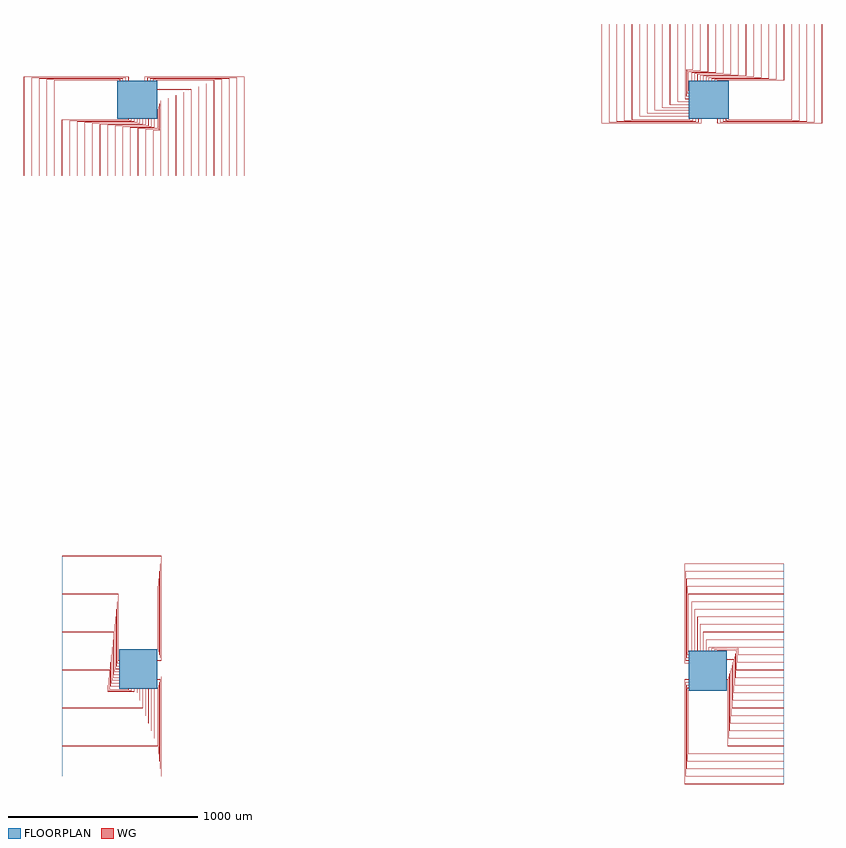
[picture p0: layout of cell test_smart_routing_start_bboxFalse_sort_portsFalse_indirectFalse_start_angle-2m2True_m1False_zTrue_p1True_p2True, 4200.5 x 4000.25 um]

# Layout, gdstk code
import gdstk
lib = gdstk.Library(unit=1e-6, precision=1e-09)
def R(c, l, rs):  # rectangles x0, y0, x1, y1
    for r in rs: c.add(gdstk.rectangle(r[:2], r[2:], *l))
def P(c, l, *ps):  # polygons
    for p in ps: c.add(gdstk.Polygon(p, *l))
WG = (1, 0)
FLOORPLAN = (10, 0)

test_smart_routing_start = lib.new_cell('test_smart_routing_start_bboxFalse_sort_portsFalse_indirectFalse_start_angle-2m2True_m1False_zTrue_p1True_p2True')
P(test_smart_routing_start, WG, [(3050.05,2877.8),(3050.05,2900),(3050.25,2900),(3050.25,2878),(3599.75,2878),(3599.75,3400),(3599.95,3400),(3599.95,2877.8)],
  [(3049.75,2877.5),(3049.75,2900),(3049.95,2900),(3049.95,2877.7),(3600.05,2877.7),(3600.05,3400),(3600.25,3400),(3600.25,2877.5)],
  [(3065.05,2882.3),(3065.05,2900),(3065.25,2900),(3065.25,2882.5),(3559.75,2882.5),(3559.75,3400),(3559.95,3400),(3559.95,2882.3)],
  [(3064.75,2882),(3064.75,2900),(3064.95,2900),(3064.95,2882.2),(3560.05,2882.2),(3560.05,3400),(3560.25,3400),(3560.25,2882)],
  [(3080.05,2886.8),(3080.05,2900),(3080.25,2900),(3080.25,2887),(3519.75,2887),(3519.75,3400),(3519.95,3400),(3519.95,2886.8)],
  [(3079.75,2886.5),(3079.75,2900),(3079.95,2900),(3079.95,2886.7),(3520.05,2886.7),(3520.05,3400),(3520.25,3400),(3520.25,2886.5)],
  [(3095.05,2891.3),(3095.05,2900),(3095.25,2900),(3095.25,2891.5),(3479.75,2891.5),(3479.75,3400),(3479.95,3400),(3479.95,2891.3)],
  [(3094.75,2891),(3094.75,2900),(3094.95,2900),(3094.95,2891.2),(3480.05,2891.2),(3480.05,3400),(3480.25,3400),(3480.25,2891)],
  [(3110.05,2895.8),(3110.05,2900),(3110.25,2900),(3110.25,2896),(3439.75,2896),(3439.75,3400),(3439.95,3400),(3439.95,2895.8)],
  [(3109.75,2895.5),(3109.75,2900),(3109.95,2900),(3109.95,2895.7),(3440.05,2895.7),(3440.05,3400),(3440.25,3400),(3440.25,2895.5)],
  [(3049.75,3100),(3049.75,3104.5),(3399.75,3104.5),(3399.75,3400),(3399.95,3400),(3399.95,3104.3),(3049.95,3104.3),(3049.95,3100)],
  [(3050.05,3100),(3050.05,3104.2),(3400.05,3104.2),(3400.05,3400),(3400.25,3400),(3400.25,3104),(3050.25,3104),(3050.25,3100)],
  [(3034.75,3100),(3034.75,3109),(3359.75,3109),(3359.75,3400),(3359.95,3400),(3359.95,3108.8),(3034.95,3108.8),(3034.95,3100)],
  [(3035.05,3100),(3035.05,3108.7),(3360.05,3108.7),(3360.05,3400),(3360.25,3400),(3360.25,3108.5),(3035.25,3108.5),(3035.25,3100)],
  [(3019.75,3100),(3019.75,3113.5),(3319.75,3113.5),(3319.75,3400),(3319.95,3400),(3319.95,3113.3),(3019.95,3113.3),(3019.95,3100)],
  [(3020.05,3100),(3020.05,3113.2),(3320.05,3113.2),(3320.05,3400),(3320.25,3400),(3320.25,3113),(3020.25,3113),(3020.25,3100)],
  [(3004.75,3100),(3004.75,3118),(3279.75,3118),(3279.75,3400),(3279.95,3400),(3279.95,3117.8),(3004.95,3117.8),(3004.95,3100)],
  [(3005.05,3100),(3005.05,3117.7),(3280.05,3117.7),(3280.05,3400),(3280.25,3400),(3280.25,3117.5),(3005.25,3117.5),(3005.25,3100)],
  [(2989.75,3100),(2989.75,3122.5),(3239.75,3122.5),(3239.75,3400),(3239.95,3400),(3239.95,3122.3),(2989.95,3122.3),(2989.95,3100)],
  [(2990.05,3100),(2990.05,3122.2),(3240.05,3122.2),(3240.05,3400),(3240.25,3400),(3240.25,3122),(2990.25,3122),(2990.25,3100)],
  [(2974.75,3100),(2974.75,3127),(3199.75,3127),(3199.75,3400),(3199.95,3400),(3199.95,3126.8),(2974.95,3126.8),(2974.95,3100)],
  [(2975.05,3100),(2975.05,3126.7),(3200.05,3126.7),(3200.05,3400),(3200.25,3400),(3200.25,3126.5),(2975.25,3126.5),(2975.25,3100)],
  [(2959.75,3100),(2959.75,3131.5),(3159.75,3131.5),(3159.75,3400),(3159.95,3400),(3159.95,3131.3),(2959.95,3131.3),(2959.95,3100)],
  [(2960.05,3100),(2960.05,3131.2),(3160.05,3131.2),(3160.05,3400),(3160.25,3400),(3160.25,3131),(2960.25,3131),(2960.25,3100)],
  [(2944.75,3100),(2944.75,3136),(3119.75,3136),(3119.75,3400),(3119.95,3400),(3119.95,3135.8),(2944.95,3135.8),(2944.95,3100)],
  [(2945.05,3100),(2945.05,3135.7),(3120.05,3135.7),(3120.05,3400),(3120.25,3400),(3120.25,3135.5),(2945.25,3135.5),(2945.25,3100)],
  [(2929.75,3100),(2929.75,3140.5),(3079.75,3140.5),(3079.75,3400),(3079.95,3400),(3079.95,3140.3),(2929.95,3140.3),(2929.95,3100)],
  [(2930.05,3100),(2930.05,3140.2),(3080.05,3140.2),(3080.05,3400),(3080.25,3400),(3080.25,3140),(2930.25,3140),(2930.25,3100)],
  [(2914.75,3100),(2914.75,3145),(3039.75,3145),(3039.75,3400),(3039.95,3400),(3039.95,3144.8),(2914.95,3144.8),(2914.95,3100)],
  [(2915.05,3100),(2915.05,3144.7),(3040.05,3144.7),(3040.05,3400),(3040.25,3400),(3040.25,3144.5),(2915.25,3144.5),(2915.25,3100)],
  [(2895.5,3049.75),(2895.5,3149.5),(2999.75,3149.5),(2999.75,3400),(2999.95,3400),(2999.95,3149.3),(2895.7,3149.3),(2895.7,3049.95),(2900,3049.95),(2900,3049.75)],
  [(2895.8,3050.05),(2895.8,3149.2),(3000.05,3149.2),(3000.05,3400),(3000.25,3400),(3000.25,3149),(2896,3149),(2896,3050.25),(2900,3050.25),(2900,3050.05)],
  [(2891,3034.75),(2891,3154),(2959.75,3154),(2959.75,3400),(2959.95,3400),(2959.95,3153.8),(2891.2,3153.8),(2891.2,3034.95),(2900,3034.95),(2900,3034.75)],
  [(2891.3,3035.05),(2891.3,3153.7),(2960.05,3153.7),(2960.05,3400),(2960.25,3400),(2960.25,3153.5),(2891.5,3153.5),(2891.5,3035.25),(2900,3035.25),(2900,3035.05)],
  [(2886.5,3019.75),(2886.5,3158.5),(2919.75,3158.5),(2919.75,3400),(2919.95,3400),(2919.95,3158.3),(2886.7,3158.3),(2886.7,3019.95),(2900,3019.95),(2900,3019.75)],
  [(2886.8,3020.05),(2886.8,3158.2),(2920.05,3158.2),(2920.05,3400),(2920.25,3400),(2920.25,3158),(2887,3158),(2887,3020.25),(2900,3020.25),(2900,3020.05)],
  [(2879.75,3004.75),(2879.75,3400),(2879.95,3400),(2879.95,3004.95),(2900,3004.95),(2900,3004.75)],
  [(2880.05,3005.05),(2880.05,3400),(2880.25,3400),(2880.25,3005.25),(2900,3005.25),(2900,3005.05)],
  [(2839.75,2989.75),(2839.75,3400),(2839.95,3400),(2839.95,2989.95),(2900,2989.95),(2900,2989.75)],
  [(2840.05,2990.05),(2840.05,3400),(2840.25,3400),(2840.25,2990.25),(2900,2990.25),(2900,2990.05)],
  [(2799.75,2974.75),(2799.75,3400),(2799.95,3400),(2799.95,2974.95),(2900,2974.95),(2900,2974.75)],
  [(2800.05,2975.05),(2800.05,3400),(2800.25,3400),(2800.25,2975.25),(2900,2975.25),(2900,2975.05)],
  [(2759.75,2959.75),(2759.75,3400),(2759.95,3400),(2759.95,2959.95),(2900,2959.95),(2900,2959.75)],
  [(2760.05,2960.05),(2760.05,3400),(2760.25,3400),(2760.25,2960.25),(2900,2960.25),(2900,2960.05)],
  [(2719.75,2944.75),(2719.75,3400),(2719.95,3400),(2719.95,2944.95),(2900,2944.95),(2900,2944.75)],
  [(2720.05,2945.05),(2720.05,3400),(2720.25,3400),(2720.25,2945.25),(2900,2945.25),(2900,2945.05)],
  [(2679.75,2929.75),(2679.75,3400),(2679.95,3400),(2679.95,2929.95),(2900,2929.95),(2900,2929.75)],
  [(2680.05,2930.05),(2680.05,3400),(2680.25,3400),(2680.25,2930.25),(2900,2930.25),(2900,2930.05)],
  [(2639.75,2914.75),(2639.75,3400),(2639.95,3400),(2639.95,2914.95),(2900,2914.95),(2900,2914.75)],
  [(2640.05,2915.05),(2640.05,3400),(2640.25,3400),(2640.25,2915.25),(2900,2915.25),(2900,2915.05)],
  [(2439.75,2877.5),(2439.75,3400),(2439.95,3400),(2439.95,2877.7),(2965.05,2877.7),(2965.05,2900),(2965.25,2900),(2965.25,2877.5)],
  [(2440.05,2877.8),(2440.05,3400),(2440.25,3400),(2440.25,2878),(2964.75,2878),(2964.75,2900),(2964.95,2900),(2964.95,2877.8)],
  [(2479.75,2882),(2479.75,3400),(2479.95,3400),(2479.95,2882.2),(2950.05,2882.2),(2950.05,2900),(2950.25,2900),(2950.25,2882)],
  [(2480.05,2882.3),(2480.05,3400),(2480.25,3400),(2480.25,2882.5),(2949.75,2882.5),(2949.75,2900),(2949.95,2900),(2949.95,2882.3)],
  [(2519.75,2886.5),(2519.75,3400),(2519.95,3400),(2519.95,2886.7),(2935.05,2886.7),(2935.05,2900),(2935.25,2900),(2935.25,2886.5)],
  [(2520.05,2886.8),(2520.05,3400),(2520.25,3400),(2520.25,2887),(2934.75,2887),(2934.75,2900),(2934.95,2900),(2934.95,2886.8)],
  [(2559.75,2891),(2559.75,3400),(2559.95,3400),(2559.95,2891.2),(2920.05,2891.2),(2920.05,2900),(2920.25,2900),(2920.25,2891)],
  [(2560.05,2891.3),(2560.05,3400),(2560.25,3400),(2560.25,2891.5),(2919.75,2891.5),(2919.75,2900),(2919.95,2900),(2919.95,2891.3)],
  [(2599.75,2895.5),(2599.75,3400),(2599.95,3400),(2599.95,2895.7),(2905.05,2895.7),(2905.05,2900),(2905.25,2900),(2905.25,2895.5)],
  [(2600.05,2895.8),(2600.05,3400),(2600.25,3400),(2600.25,2896),(2904.75,2896),(2904.75,2900),(2904.95,2900),(2904.95,2895.8)],
  [(-599.95,2600),(-599.95,3122.2),(-50.05,3122.2),(-50.05,3100),(-50.25,3100),(-50.25,3122),(-599.75,3122),(-599.75,2600)],
  [(-600.25,2600),(-600.25,3122.5),(-49.75,3122.5),(-49.75,3100),(-49.95,3100),(-49.95,3122.3),(-600.05,3122.3),(-600.05,2600)],
  [(-559.95,2600),(-559.95,3117.7),(-65.05,3117.7),(-65.05,3100),(-65.25,3100),(-65.25,3117.5),(-559.75,3117.5),(-559.75,2600)],
  [(-560.25,2600),(-560.25,3118),(-64.75,3118),(-64.75,3100),(-64.95,3100),(-64.95,3117.8),(-560.05,3117.8),(-560.05,2600)],
  [(-519.95,2600),(-519.95,3113.2),(-80.05,3113.2),(-80.05,3100),(-80.25,3100),(-80.25,3113),(-519.75,3113),(-519.75,2600)],
  [(-520.25,2600),(-520.25,3113.5),(-79.75,3113.5),(-79.75,3100),(-79.95,3100),(-79.95,3113.3),(-520.05,3113.3),(-520.05,2600)],
  [(-479.95,2600),(-479.95,3108.7),(-95.05,3108.7),(-95.05,3100),(-95.25,3100),(-95.25,3108.5),(-479.75,3108.5),(-479.75,2600)],
  [(-480.25,2600),(-480.25,3109),(-94.75,3109),(-94.75,3100),(-94.95,3100),(-94.95,3108.8),(-480.05,3108.8),(-480.05,2600)],
  [(-439.95,2600),(-439.95,3104.2),(-110.05,3104.2),(-110.05,3100),(-110.25,3100),(-110.25,3104),(-439.75,3104),(-439.75,2600)],
  [(-440.25,2600),(-440.25,3104.5),(-109.75,3104.5),(-109.75,3100),(-109.95,3100),(-109.95,3104.3),(-440.05,3104.3),(-440.05,2600)],
  [(-400.25,2600),(-400.25,2896),(-50.25,2896),(-50.25,2900),(-50.05,2900),(-50.05,2895.8),(-400.05,2895.8),(-400.05,2600)],
  [(-399.95,2600),(-399.95,2895.7),(-49.95,2895.7),(-49.95,2900),(-49.75,2900),(-49.75,2895.5),(-399.75,2895.5),(-399.75,2600)],
  [(-360.25,2600),(-360.25,2891.5),(-35.25,2891.5),(-35.25,2900),(-35.05,2900),(-35.05,2891.3),(-360.05,2891.3),(-360.05,2600)],
  [(-359.95,2600),(-359.95,2891.2),(-34.95,2891.2),(-34.95,2900),(-34.75,2900),(-34.75,2891),(-359.75,2891),(-359.75,2600)],
  [(-320.25,2600),(-320.25,2887),(-20.25,2887),(-20.25,2900),(-20.05,2900),(-20.05,2886.8),(-320.05,2886.8),(-320.05,2600)],
  [(-319.95,2600),(-319.95,2886.7),(-19.95,2886.7),(-19.95,2900),(-19.75,2900),(-19.75,2886.5),(-319.75,2886.5),(-319.75,2600)],
  [(-280.25,2600),(-280.25,2882.5),(-5.25,2882.5),(-5.25,2900),(-5.05,2900),(-5.05,2882.3),(-280.05,2882.3),(-280.05,2600)],
  [(-279.95,2600),(-279.95,2882.2),(-4.95,2882.2),(-4.95,2900),(-4.75,2900),(-4.75,2882),(-279.75,2882),(-279.75,2600)],
  [(-240.25,2600),(-240.25,2878),(9.75,2878),(9.75,2900),(9.95,2900),(9.95,2877.8),(-240.05,2877.8),(-240.05,2600)],
  [(-239.95,2600),(-239.95,2877.7),(10.05,2877.7),(10.05,2900),(10.25,2900),(10.25,2877.5),(-239.75,2877.5),(-239.75,2600)],
  [(-200.25,2600),(-200.25,2873.5),(24.75,2873.5),(24.75,2900),(24.95,2900),(24.95,2873.3),(-200.05,2873.3),(-200.05,2600)],
  [(-199.95,2600),(-199.95,2873.2),(25.05,2873.2),(25.05,2900),(25.25,2900),(25.25,2873),(-199.75,2873),(-199.75,2600)],
  [(-160.25,2600),(-160.25,2869),(39.75,2869),(39.75,2900),(39.95,2900),(39.95,2868.8),(-160.05,2868.8),(-160.05,2600)],
  [(-159.95,2600),(-159.95,2868.7),(40.05,2868.7),(40.05,2900),(40.25,2900),(40.25,2868.5),(-159.75,2868.5),(-159.75,2600)],
  [(-120.25,2600),(-120.25,2864.5),(54.75,2864.5),(54.75,2900),(54.95,2900),(54.95,2864.3),(-120.05,2864.3),(-120.05,2600)],
  [(-119.95,2600),(-119.95,2864.2),(55.05,2864.2),(55.05,2900),(55.25,2900),(55.25,2864),(-119.75,2864),(-119.75,2600)],
  [(-80.25,2600),(-80.25,2860),(69.75,2860),(69.75,2900),(69.95,2900),(69.95,2859.8),(-80.05,2859.8),(-80.05,2600)],
  [(-79.95,2600),(-79.95,2859.7),(70.05,2859.7),(70.05,2900),(70.25,2900),(70.25,2859.5),(-79.75,2859.5),(-79.75,2600)],
  [(-40.25,2600),(-40.25,2855.5),(84.75,2855.5),(84.75,2900),(84.95,2900),(84.95,2855.3),(-40.05,2855.3),(-40.05,2600)],
  [(-39.95,2600),(-39.95,2855.2),(85.05,2855.2),(85.05,2900),(85.25,2900),(85.25,2855),(-39.75,2855),(-39.75,2600)],
  [(-0.25,2600),(-0.25,2851),(104,2851),(104,2949.75),(100,2949.75),(100,2949.95),(104.2,2949.95),(104.2,2850.8),(-0.05,2850.8),(-0.05,2600)],
  [(0.05,2600),(0.05,2850.7),(104.3,2850.7),(104.3,2950.05),(100,2950.05),(100,2950.25),(104.5,2950.25),(104.5,2850.5),(0.25,2850.5),(0.25,2600)],
  [(39.75,2600),(39.75,2846.5),(108.5,2846.5),(108.5,2964.75),(100,2964.75),(100,2964.95),(108.7,2964.95),(108.7,2846.3),(39.95,2846.3),(39.95,2600)],
  [(40.05,2600),(40.05,2846.2),(108.8,2846.2),(108.8,2965.05),(100,2965.05),(100,2965.25),(109,2965.25),(109,2846),(40.25,2846),(40.25,2600)],
  [(79.75,2600),(79.75,2842),(113,2842),(113,2979.75),(100,2979.75),(100,2979.95),(113.2,2979.95),(113.2,2841.8),(79.95,2841.8),(79.95,2600)],
  [(80.05,2600),(80.05,2841.7),(113.3,2841.7),(113.3,2980.05),(100,2980.05),(100,2980.25),(113.5,2980.25),(113.5,2841.5),(80.25,2841.5),(80.25,2600)],
  [(119.75,2600),(119.75,2994.75),(100,2994.75),(100,2994.95),(119.95,2994.95),(119.95,2600)],
  [(120.05,2600),(120.05,2995.05),(100,2995.05),(100,2995.25),(120.25,2995.25),(120.25,2600)],
  [(159.75,2600),(159.75,3009.75),(100,3009.75),(100,3009.95),(159.95,3009.95),(159.95,2600)],
  [(160.05,2600),(160.05,3010.05),(100,3010.05),(100,3010.25),(160.25,3010.25),(160.25,2600)],
  [(199.75,2600),(199.75,3024.75),(100,3024.75),(100,3024.95),(199.95,3024.95),(199.95,2600)],
  [(200.05,2600),(200.05,3025.05),(100,3025.05),(100,3025.25),(200.25,3025.25),(200.25,2600)],
  [(239.75,2600),(239.75,3039.75),(100,3039.75),(100,3039.95),(239.95,3039.95),(239.95,2600)],
  [(240.05,2600),(240.05,3040.05),(100,3040.05),(100,3040.25),(240.25,3040.25),(240.25,2600)],
  [(279.75,2600),(279.75,3054.75),(100,3054.75),(100,3054.95),(279.95,3054.95),(279.95,2600)],
  [(280.05,2600),(280.05,3055.05),(100,3055.05),(100,3055.25),(280.25,3055.25),(280.25,2600)],
  [(319.75,2600),(319.75,3069.75),(100,3069.75),(100,3069.95),(319.95,3069.95),(319.95,2600)],
  [(320.05,2600),(320.05,3070.05),(100,3070.05),(100,3070.25),(320.25,3070.25),(320.25,2600)],
  [(359.75,2600),(359.75,3084.75),(100,3084.75),(100,3084.95),(359.95,3084.95),(359.95,2600)],
  [(360.05,2600),(360.05,3085.05),(100,3085.05),(100,3085.25),(360.25,3085.25),(360.25,2600)],
  [(559.75,2600),(559.75,3122),(35.25,3122),(35.25,3100),(35.05,3100),(35.05,3122.2),(559.95,3122.2),(559.95,2600)],
  [(560.05,2600),(560.05,3122.3),(34.95,3122.3),(34.95,3100),(34.75,3100),(34.75,3122.5),(560.25,3122.5),(560.25,2600)],
  [(519.75,2600),(519.75,3117.5),(50.25,3117.5),(50.25,3100),(50.05,3100),(50.05,3117.7),(519.95,3117.7),(519.95,2600)],
  [(520.05,2600),(520.05,3117.8),(49.95,3117.8),(49.95,3100),(49.75,3100),(49.75,3118),(520.25,3118),(520.25,2600)],
  [(479.75,2600),(479.75,3113),(65.25,3113),(65.25,3100),(65.05,3100),(65.05,3113.2),(479.95,3113.2),(479.95,2600)],
  [(480.05,2600),(480.05,3113.3),(64.95,3113.3),(64.95,3100),(64.75,3100),(64.75,3113.5),(480.25,3113.5),(480.25,2600)],
  [(439.75,2600),(439.75,3108.5),(80.25,3108.5),(80.25,3100),(80.05,3100),(80.05,3108.7),(439.95,3108.7),(439.95,2600)],
  [(440.05,2600),(440.05,3108.8),(79.95,3108.8),(79.95,3100),(79.75,3100),(79.75,3109),(440.25,3109),(440.25,2600)],
  [(399.75,2600),(399.75,3104),(95.25,3104),(95.25,3100),(95.05,3100),(95.05,3104.2),(399.95,3104.2),(399.95,2600)],
  [(400.05,2600),(400.05,3104.3),(94.95,3104.3),(94.95,3100),(94.75,3100),(94.75,3104.5),(400.25,3104.5),(400.25,2600)],
  [(100,50.05),(100,50.25),(122,50.25),(122,599.75),(-400,599.75),(-400,599.95),(122.2,599.95),(122.2,50.05)],
  [(100,49.75),(100,49.95),(122.3,49.95),(122.3,600.05),(-400,600.05),(-400,600.25),(122.5,600.25),(122.5,49.75)],
  [(100,65.05),(100,65.25),(117.5,65.25),(117.5,559.75),(-400,559.75),(-400,559.95),(117.7,559.95),(117.7,65.05)],
  [(100,64.75),(100,64.95),(117.8,64.95),(117.8,560.05),(-400,560.05),(-400,560.25),(118,560.25),(118,64.75)],
  [(100,80.05),(100,80.25),(113,80.25),(113,519.75),(-400,519.75),(-400,519.95),(113.2,519.95),(113.2,80.05)],
  [(100,79.75),(100,79.95),(113.3,79.95),(113.3,520.05),(-400,520.05),(-400,520.25),(113.5,520.25),(113.5,79.75)],
  [(100,95.05),(100,95.25),(108.5,95.25),(108.5,479.75),(-400,479.75),(-400,479.95),(108.7,479.95),(108.7,95.05)],
  [(100,94.75),(100,94.95),(108.8,94.95),(108.8,480.05),(-400,480.05),(-400,480.25),(109,480.25),(109,94.75)],
  [(100,110.05),(100,110.25),(104,110.25),(104,439.75),(-400,439.75),(-400,439.95),(104.2,439.95),(104.2,110.05)],
  [(100,109.75),(100,109.95),(104.3,109.95),(104.3,440.05),(-400,440.05),(-400,440.25),(104.5,440.25),(104.5,109.75)],
  [(-104.5,49.75),(-104.5,399.75),(-400,399.75),(-400,399.95),(-104.3,399.95),(-104.3,49.95),(-100,49.95),(-100,49.75)],
  [(-104.2,50.05),(-104.2,400.05),(-400,400.05),(-400,400.25),(-104,400.25),(-104,50.25),(-100,50.25),(-100,50.05)],
  [(-109,34.75),(-109,359.75),(-400,359.75),(-400,359.95),(-108.8,359.95),(-108.8,34.95),(-100,34.95),(-100,34.75)],
  [(-108.7,35.05),(-108.7,360.05),(-400,360.05),(-400,360.25),(-108.5,360.25),(-108.5,35.25),(-100,35.25),(-100,35.05)],
  [(-113.5,19.75),(-113.5,319.75),(-400,319.75),(-400,319.95),(-113.3,319.95),(-113.3,19.95),(-100,19.95),(-100,19.75)],
  [(-113.2,20.05),(-113.2,320.05),(-400,320.05),(-400,320.25),(-113,320.25),(-113,20.25),(-100,20.25),(-100,20.05)],
  [(-118,4.75),(-118,279.75),(-400,279.75),(-400,279.95),(-117.8,279.95),(-117.8,4.95),(-100,4.95),(-100,4.75)],
  [(-117.7,5.05),(-117.7,280.05),(-400,280.05),(-400,280.25),(-117.5,280.25),(-117.5,5.25),(-100,5.25),(-100,5.05)],
  [(-122.5,-10.25),(-122.5,239.75),(-400,239.75),(-400,239.95),(-122.3,239.95),(-122.3,-10.05),(-100,-10.05),(-100,-10.25)],
  [(-122.2,-9.95),(-122.2,240.05),(-400,240.05),(-400,240.25),(-122,240.25),(-122,-9.75),(-100,-9.75),(-100,-9.95)],
  [(-127,-25.25),(-127,199.75),(-400,199.75),(-400,199.95),(-126.8,199.95),(-126.8,-25.05),(-100,-25.05),(-100,-25.25)],
  [(-126.7,-24.95),(-126.7,200.05),(-400,200.05),(-400,200.25),(-126.5,200.25),(-126.5,-24.75),(-100,-24.75),(-100,-24.95)],
  [(-131.5,-40.25),(-131.5,159.75),(-400,159.75),(-400,159.95),(-131.3,159.95),(-131.3,-40.05),(-100,-40.05),(-100,-40.25)],
  [(-131.2,-39.95),(-131.2,160.05),(-400,160.05),(-400,160.25),(-131,160.25),(-131,-39.75),(-100,-39.75),(-100,-39.95)],
  [(-136,-55.25),(-136,119.75),(-400,119.75),(-400,119.95),(-135.8,119.95),(-135.8,-55.05),(-100,-55.05),(-100,-55.25)],
  [(-135.7,-54.95),(-135.7,120.05),(-400,120.05),(-400,120.25),(-135.5,120.25),(-135.5,-54.75),(-100,-54.75),(-100,-54.95)],
  [(-140.5,-70.25),(-140.5,79.75),(-400,79.75),(-400,79.95),(-140.3,79.95),(-140.3,-70.05),(-100,-70.05),(-100,-70.25)],
  [(-140.2,-69.95),(-140.2,80.05),(-400,80.05),(-400,80.25),(-140,80.25),(-140,-69.75),(-100,-69.75),(-100,-69.95)],
  [(-145,-85.25),(-145,39.75),(-400,39.75),(-400,39.95),(-144.8,39.95),(-144.8,-85.05),(-100,-85.05),(-100,-85.25)],
  [(-144.7,-84.95),(-144.7,40.05),(-400,40.05),(-400,40.25),(-144.5,40.25),(-144.5,-84.75),(-100,-84.75),(-100,-84.95)],
  [(-149.5,-104.5),(-149.5,-0.25),(-400,-0.25),(-400,-0.05),(-149.3,-0.05),(-149.3,-104.3),(-49.95,-104.3),(-49.95,-100),(-49.75,-100),(-49.75,-104.5)],
  [(-149.2,-104.2),(-149.2,0.05),(-400,0.05),(-400,0.25),(-149,0.25),(-149,-104),(-50.25,-104),(-50.25,-100),(-50.05,-100),(-50.05,-104.2)],
  [(-154,-109),(-154,-40.25),(-400,-40.25),(-400,-40.05),(-153.8,-40.05),(-153.8,-108.8),(-34.95,-108.8),(-34.95,-100),(-34.75,-100),(-34.75,-109)],
  [(-153.7,-108.7),(-153.7,-39.95),(-400,-39.95),(-400,-39.75),(-153.5,-39.75),(-153.5,-108.5),(-35.25,-108.5),(-35.25,-100),(-35.05,-100),(-35.05,-108.7)],
  [(-158.5,-113.5),(-158.5,-80.25),(-400,-80.25),(-400,-80.05),(-158.3,-80.05),(-158.3,-113.3),(-19.95,-113.3),(-19.95,-100),(-19.75,-100),(-19.75,-113.5)],
  [(-158.2,-113.2),(-158.2,-79.95),(-400,-79.95),(-400,-79.75),(-158,-79.75),(-158,-113),(-20.25,-113),(-20.25,-100),(-20.05,-100),(-20.05,-113.2)],
  [(-400,-119.95),(-400,-119.75),(-5.25,-119.75),(-5.25,-100),(-5.05,-100),(-5.05,-119.95)],
  [(-400,-120.25),(-400,-120.05),(-4.95,-120.05),(-4.95,-100),(-4.75,-100),(-4.75,-120.25)],
  [(-400,-159.95),(-400,-159.75),(9.75,-159.75),(9.75,-100),(9.95,-100),(9.95,-159.95)],
  [(-400,-160.25),(-400,-160.05),(10.05,-160.05),(10.05,-100),(10.25,-100),(10.25,-160.25)],
  [(-400,-199.95),(-400,-199.75),(24.75,-199.75),(24.75,-100),(24.95,-100),(24.95,-199.95)],
  [(-400,-200.25),(-400,-200.05),(25.05,-200.05),(25.05,-100),(25.25,-100),(25.25,-200.25)],
  [(-400,-239.95),(-400,-239.75),(39.75,-239.75),(39.75,-100),(39.95,-100),(39.95,-239.95)],
  [(-400,-240.25),(-400,-240.05),(40.05,-240.05),(40.05,-100),(40.25,-100),(40.25,-240.25)],
  [(-400,-279.95),(-400,-279.75),(54.75,-279.75),(54.75,-100),(54.95,-100),(54.95,-279.95)],
  [(-400,-280.25),(-400,-280.05),(55.05,-280.05),(55.05,-100),(55.25,-100),(55.25,-280.25)],
  [(-400,-319.95),(-400,-319.75),(69.75,-319.75),(69.75,-100),(69.95,-100),(69.95,-319.95)],
  [(-400,-320.25),(-400,-320.05),(70.05,-320.05),(70.05,-100),(70.25,-100),(70.25,-320.25)],
  [(-400,-359.95),(-400,-359.75),(84.75,-359.75),(84.75,-100),(84.95,-100),(84.95,-359.95)],
  [(-400,-360.25),(-400,-360.05),(85.05,-360.05),(85.05,-100),(85.25,-100),(85.25,-360.25)],
  [(-400,-559.95),(-400,-559.75),(122,-559.75),(122,-35.25),(100,-35.25),(100,-35.05),(122.2,-35.05),(122.2,-559.95)],
  [(-400,-560.25),(-400,-560.05),(122.3,-560.05),(122.3,-34.95),(100,-34.95),(100,-34.75),(122.5,-34.75),(122.5,-560.25)],
  [(-400,-519.95),(-400,-519.75),(117.5,-519.75),(117.5,-50.25),(100,-50.25),(100,-50.05),(117.7,-50.05),(117.7,-519.95)],
  [(-400,-520.25),(-400,-520.05),(117.8,-520.05),(117.8,-49.95),(100,-49.95),(100,-49.75),(118,-49.75),(118,-520.25)],
  [(-400,-479.95),(-400,-479.75),(113,-479.75),(113,-65.25),(100,-65.25),(100,-65.05),(113.2,-65.05),(113.2,-479.95)],
  [(-400,-480.25),(-400,-480.05),(113.3,-480.05),(113.3,-64.95),(100,-64.95),(100,-64.75),(113.5,-64.75),(113.5,-480.25)],
  [(-400,-439.95),(-400,-439.75),(108.5,-439.75),(108.5,-80.25),(100,-80.25),(100,-80.05),(108.7,-80.05),(108.7,-439.95)],
  [(-400,-440.25),(-400,-440.05),(108.8,-440.05),(108.8,-79.95),(100,-79.95),(100,-79.75),(109,-79.75),(109,-440.25)],
  [(-400,-399.95),(-400,-399.75),(104,-399.75),(104,-95.25),(100,-95.25),(100,-95.05),(104.2,-95.05),(104.2,-399.95)],
  [(-400,-400.25),(-400,-400.05),(104.3,-400.05),(104.3,-94.95),(100,-94.95),(100,-94.75),(104.5,-94.75),(104.5,-400.25)],
  [(2877.8,-599.95),(2877.8,-50.05),(2900,-50.05),(2900,-50.25),(2878,-50.25),(2878,-599.75),(3400,-599.75),(3400,-599.95)],
  [(2877.5,-600.25),(2877.5,-49.75),(2900,-49.75),(2900,-49.95),(2877.7,-49.95),(2877.7,-600.05),(3400,-600.05),(3400,-600.25)],
  [(2882.3,-559.95),(2882.3,-65.05),(2900,-65.05),(2900,-65.25),(2882.5,-65.25),(2882.5,-559.75),(3400,-559.75),(3400,-559.95)],
  [(2882,-560.25),(2882,-64.75),(2900,-64.75),(2900,-64.95),(2882.2,-64.95),(2882.2,-560.05),(3400,-560.05),(3400,-560.25)],
  [(2886.8,-519.95),(2886.8,-80.05),(2900,-80.05),(2900,-80.25),(2887,-80.25),(2887,-519.75),(3400,-519.75),(3400,-519.95)],
  [(2886.5,-520.25),(2886.5,-79.75),(2900,-79.75),(2900,-79.95),(2886.7,-79.95),(2886.7,-520.05),(3400,-520.05),(3400,-520.25)],
  [(2891.3,-479.95),(2891.3,-95.05),(2900,-95.05),(2900,-95.25),(2891.5,-95.25),(2891.5,-479.75),(3400,-479.75),(3400,-479.95)],
  [(2891,-480.25),(2891,-94.75),(2900,-94.75),(2900,-94.95),(2891.2,-94.95),(2891.2,-480.05),(3400,-480.05),(3400,-480.25)],
  [(2895.8,-439.95),(2895.8,-110.05),(2900,-110.05),(2900,-110.25),(2896,-110.25),(2896,-439.75),(3400,-439.75),(3400,-439.95)],
  [(2895.5,-440.25),(2895.5,-109.75),(2900,-109.75),(2900,-109.95),(2895.7,-109.95),(2895.7,-440.05),(3400,-440.05),(3400,-440.25)],
  [(3104,-400.25),(3104,-50.25),(3100,-50.25),(3100,-50.05),(3104.2,-50.05),(3104.2,-400.05),(3400,-400.05),(3400,-400.25)],
  [(3104.3,-399.95),(3104.3,-49.95),(3100,-49.95),(3100,-49.75),(3104.5,-49.75),(3104.5,-399.75),(3400,-399.75),(3400,-399.95)],
  [(3108.5,-360.25),(3108.5,-35.25),(3100,-35.25),(3100,-35.05),(3108.7,-35.05),(3108.7,-360.05),(3400,-360.05),(3400,-360.25)],
  [(3108.8,-359.95),(3108.8,-34.95),(3100,-34.95),(3100,-34.75),(3109,-34.75),(3109,-359.75),(3400,-359.75),(3400,-359.95)],
  [(3113,-320.25),(3113,-20.25),(3100,-20.25),(3100,-20.05),(3113.2,-20.05),(3113.2,-320.05),(3400,-320.05),(3400,-320.25)],
  [(3113.3,-319.95),(3113.3,-19.95),(3100,-19.95),(3100,-19.75),(3113.5,-19.75),(3113.5,-319.75),(3400,-319.75),(3400,-319.95)],
  [(3117.5,-280.25),(3117.5,-5.25),(3100,-5.25),(3100,-5.05),(3117.7,-5.05),(3117.7,-280.05),(3400,-280.05),(3400,-280.25)],
  [(3117.8,-279.95),(3117.8,-4.95),(3100,-4.95),(3100,-4.75),(3118,-4.75),(3118,-279.75),(3400,-279.75),(3400,-279.95)],
  [(3122,-240.25),(3122,9.75),(3100,9.75),(3100,9.95),(3122.2,9.95),(3122.2,-240.05),(3400,-240.05),(3400,-240.25)],
  [(3122.3,-239.95),(3122.3,10.05),(3100,10.05),(3100,10.25),(3122.5,10.25),(3122.5,-239.75),(3400,-239.75),(3400,-239.95)],
  [(3126.5,-200.25),(3126.5,24.75),(3100,24.75),(3100,24.95),(3126.7,24.95),(3126.7,-200.05),(3400,-200.05),(3400,-200.25)],
  [(3126.8,-199.95),(3126.8,25.05),(3100,25.05),(3100,25.25),(3127,25.25),(3127,-199.75),(3400,-199.75),(3400,-199.95)],
  [(3131,-160.25),(3131,39.75),(3100,39.75),(3100,39.95),(3131.2,39.95),(3131.2,-160.05),(3400,-160.05),(3400,-160.25)],
  [(3131.3,-159.95),(3131.3,40.05),(3100,40.05),(3100,40.25),(3131.5,40.25),(3131.5,-159.75),(3400,-159.75),(3400,-159.95)],
  [(3135.5,-120.25),(3135.5,54.75),(3100,54.75),(3100,54.95),(3135.7,54.95),(3135.7,-120.05),(3400,-120.05),(3400,-120.25)],
  [(3135.8,-119.95),(3135.8,55.05),(3100,55.05),(3100,55.25),(3136,55.25),(3136,-119.75),(3400,-119.75),(3400,-119.95)],
  [(3140,-80.25),(3140,69.75),(3100,69.75),(3100,69.95),(3140.2,69.95),(3140.2,-80.05),(3400,-80.05),(3400,-80.25)],
  [(3140.3,-79.95),(3140.3,70.05),(3100,70.05),(3100,70.25),(3140.5,70.25),(3140.5,-79.75),(3400,-79.75),(3400,-79.95)],
  [(3144.5,-40.25),(3144.5,84.75),(3100,84.75),(3100,84.95),(3144.7,84.95),(3144.7,-40.05),(3400,-40.05),(3400,-40.25)],
  [(3144.8,-39.95),(3144.8,85.05),(3100,85.05),(3100,85.25),(3145,85.25),(3145,-39.75),(3400,-39.75),(3400,-39.95)],
  [(3149,-0.25),(3149,104),(3050.25,104),(3050.25,100),(3050.05,100),(3050.05,104.2),(3149.2,104.2),(3149.2,-0.05),(3400,-0.05),(3400,-0.25)],
  [(3149.3,0.05),(3149.3,104.3),(3049.95,104.3),(3049.95,100),(3049.75,100),(3049.75,104.5),(3149.5,104.5),(3149.5,0.25),(3400,0.25),(3400,0.05)],
  [(3153.5,39.75),(3153.5,108.5),(3035.25,108.5),(3035.25,100),(3035.05,100),(3035.05,108.7),(3153.7,108.7),(3153.7,39.95),(3400,39.95),(3400,39.75)],
  [(3153.8,40.05),(3153.8,108.8),(3034.95,108.8),(3034.95,100),(3034.75,100),(3034.75,109),(3154,109),(3154,40.25),(3400,40.25),(3400,40.05)],
  [(3158,79.75),(3158,113),(3020.25,113),(3020.25,100),(3020.05,100),(3020.05,113.2),(3158.2,113.2),(3158.2,79.95),(3400,79.95),(3400,79.75)],
  [(3158.3,80.05),(3158.3,113.3),(3019.95,113.3),(3019.95,100),(3019.75,100),(3019.75,113.5),(3158.5,113.5),(3158.5,80.25),(3400,80.25),(3400,80.05)],
  [(3005.05,100),(3005.05,119.95),(3400,119.95),(3400,119.75),(3005.25,119.75),(3005.25,100)],
  [(3004.75,100),(3004.75,120.25),(3400,120.25),(3400,120.05),(3004.95,120.05),(3004.95,100)],
  [(2990.05,100),(2990.05,159.95),(3400,159.95),(3400,159.75),(2990.25,159.75),(2990.25,100)],
  [(2989.75,100),(2989.75,160.25),(3400,160.25),(3400,160.05),(2989.95,160.05),(2989.95,100)],
  [(2975.05,100),(2975.05,199.95),(3400,199.95),(3400,199.75),(2975.25,199.75),(2975.25,100)],
  [(2974.75,100),(2974.75,200.25),(3400,200.25),(3400,200.05),(2974.95,200.05),(2974.95,100)],
  [(2960.05,100),(2960.05,239.95),(3400,239.95),(3400,239.75),(2960.25,239.75),(2960.25,100)],
  [(2959.75,100),(2959.75,240.25),(3400,240.25),(3400,240.05),(2959.95,240.05),(2959.95,100)],
  [(2945.05,100),(2945.05,279.95),(3400,279.95),(3400,279.75),(2945.25,279.75),(2945.25,100)],
  [(2944.75,100),(2944.75,280.25),(3400,280.25),(3400,280.05),(2944.95,280.05),(2944.95,100)],
  [(2930.05,100),(2930.05,319.95),(3400,319.95),(3400,319.75),(2930.25,319.75),(2930.25,100)],
  [(2929.75,100),(2929.75,320.25),(3400,320.25),(3400,320.05),(2929.95,320.05),(2929.95,100)],
  [(2915.05,100),(2915.05,359.95),(3400,359.95),(3400,359.75),(2915.25,359.75),(2915.25,100)],
  [(2914.75,100),(2914.75,360.25),(3400,360.25),(3400,360.05),(2914.95,360.05),(2914.95,100)],
  [(2877.8,35.05),(2877.8,559.95),(3400,559.95),(3400,559.75),(2878,559.75),(2878,35.25),(2900,35.25),(2900,35.05)],
  [(2877.5,34.75),(2877.5,560.25),(3400,560.25),(3400,560.05),(2877.7,560.05),(2877.7,34.95),(2900,34.95),(2900,34.75)],
  [(2882.3,50.05),(2882.3,519.95),(3400,519.95),(3400,519.75),(2882.5,519.75),(2882.5,50.25),(2900,50.25),(2900,50.05)],
  [(2882,49.75),(2882,520.25),(3400,520.25),(3400,520.05),(2882.2,520.05),(2882.2,49.95),(2900,49.95),(2900,49.75)],
  [(2886.8,65.05),(2886.8,479.95),(3400,479.95),(3400,479.75),(2887,479.75),(2887,65.25),(2900,65.25),(2900,65.05)],
  [(2886.5,64.75),(2886.5,480.25),(3400,480.25),(3400,480.05),(2886.7,480.05),(2886.7,64.95),(2900,64.95),(2900,64.75)],
  [(2891.3,80.05),(2891.3,439.95),(3400,439.95),(3400,439.75),(2891.5,439.75),(2891.5,80.25),(2900,80.25),(2900,80.05)],
  [(2891,79.75),(2891,440.25),(3400,440.25),(3400,440.05),(2891.2,440.05),(2891.2,79.95),(2900,79.95),(2900,79.75)],
  [(2895.8,95.05),(2895.8,399.95),(3400,399.95),(3400,399.75),(2896,399.75),(2896,95.25),(2900,95.25),(2900,95.05)],
  [(2895.5,94.75),(2895.5,400.25),(3400,400.25),(3400,400.05),(2895.7,400.05),(2895.7,94.95),(2900,94.95),(2900,94.75)])
R(test_smart_routing_start, FLOORPLAN, [(2900,-110,3100,100), (-100,-100,100,110), (-110,2900,100,3100), (2900,2900,3110,3100)])
P(test_smart_routing_start, FLOORPLAN, [(-400,-560),(-400,600),(-400,600),(-400,-560)],
  [(-600,2600),(-600,2600),(560,2600),(560,2600)],
  [(3400,-600),(3400,560),(3400,560),(3400,-600)],
  [(2440,3400),(2440,3400),(3600,3400),(3600,3400)])

lib.write_gds('test_smart_routing_start_bboxFalse_sort_portsFalse_indirectFalse_start_angle-2m2True_m1False_zTrue_p1True_p2True.gds')
